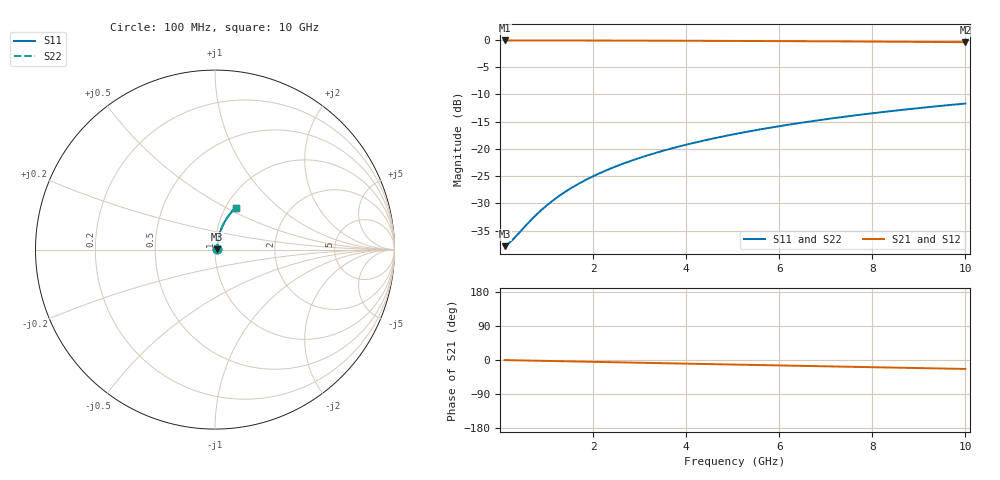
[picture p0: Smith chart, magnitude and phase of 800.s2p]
# Hz S RI R 50.00
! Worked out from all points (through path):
!   100 points, 100 MHz to 10 GHz, reference 50 ohm
!   highest |S21| = -0.11 dB at 100 MHz (marker M1); lowest = -0.4 dB at 10 GHz (marker M2)
!   group delay of S21, straight-line fit = 6.56 ps
!   lowest |S11| = -37.8 dB at 100 MHz (marker M3), VSWR 1.03, Z = 51.3 + j0.275 ohm
!   |S11| at or under -10 dB: start of sweep to end of sweep
!   |S22| runs from -37.8 to -11.7 dB; largest |S21 - S12| = 0
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1e8  0.0126 0.00268  0.9874 -0.00415  0.9874 -0.00415  0.0126 0.00268
2e8  0.0127 0.00536  0.9873 -0.0083  0.9873 -0.0083  0.0127 0.00536
3e8  0.0128 0.00804  0.9872 -0.0124  0.9872 -0.0124  0.0128 0.00804
7e8  0.0134 0.0187  0.9865 -0.029  0.9865 -0.029  0.0134 0.0187
8e8  0.0136 0.0214  0.9863 -0.0332  0.9863 -0.0332  0.0136 0.0214
1e9  0.0141 0.0268  0.9858 -0.0414  0.9858 -0.0414  0.0141 0.0268
1.2e9  0.0146 0.0321  0.9852 -0.0497  0.9852 -0.0497  0.0146 0.0321
1.4e9  0.0152 0.0374  0.9845 -0.0579  0.9845 -0.0579  0.0152 0.0374
1.6e9  0.0159 0.0427  0.9838 -0.0662  0.9838 -0.0662  0.0159 0.0427
1.8e9  0.0167 0.048  0.9829 -0.0744  0.9829 -0.0744  0.0167 0.048
2.1e9  0.0181 0.0559  0.9814 -0.0867  0.9814 -0.0867  0.0181 0.0559
2.5e9  0.0202 0.0664  0.9791 -0.1031  0.9791 -0.1031  0.0202 0.0664
2.9e9  0.0227 0.0767  0.9764 -0.1193  0.9764 -0.1193  0.0227 0.0767
3.4e9  0.0262 0.0896  0.9725 -0.1395  0.9725 -0.1395  0.0262 0.0896
3.8e9  0.0294 0.0997  0.969 -0.1555  0.969 -0.1555  0.0294 0.0997
4.2e9  0.0329 0.1097  0.9651 -0.1714  0.9651 -0.1714  0.0329 0.1097
5.1e9  0.0421 0.1317  0.955 -0.2066  0.955 -0.2066  0.0421 0.1317
5.9e9  0.0515 0.1505  0.9447 -0.2373  0.9447 -0.2373  0.0515 0.1505
6.7e9  0.062 0.1685  0.933 -0.2671  0.933 -0.2671  0.062 0.1685
7.5e9  0.0737 0.1857  0.9201 -0.2962  0.9201 -0.2962  0.0737 0.1857
8.4e9  0.088 0.204  0.9042 -0.3279  0.9042 -0.3279  0.088 0.204
1e10  0.1162 0.2334  0.8726 -0.3811  0.8726 -0.3811  0.1162 0.2334
